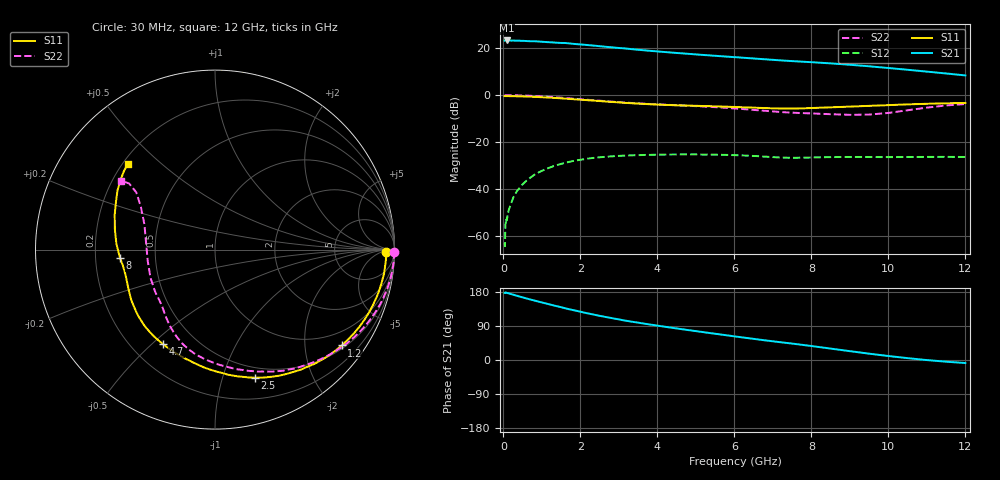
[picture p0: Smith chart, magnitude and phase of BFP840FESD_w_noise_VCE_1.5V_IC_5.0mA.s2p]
! Infineon Technologies  Discrete & RF Semiconductors
! BFP840FESD
! VCE =  1.5 V,  IC =  5.0 mA
! Common Emitter S-Parameters:  May 2012
# GHz  S  MA  R  50
!  f  S11  S21  S12  S22
! GHz  MAG  ANG  MAG  ANG  MAG  ANG  MAG  ANG
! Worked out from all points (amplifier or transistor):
!   103 points, 30 MHz to 12 GHz, reference 50 ohm
!   highest |S21| = 23.3 dB at 90 MHz (marker M1)
!   |S21| within 3 dB of that: start of sweep to 2.857 GHz
!   unconditionally stable (mu >= 1): 7.048 GHz to end of sweep
!   at 400 MHz: K = 0.04, MSG = 31.6 dB, |S12| = -40.0 dB
!   at 3.7 GHz: K = 0.35, MSG = 22.3 dB, |S12| = -25.5 dB
!   at 12 GHz: K = 1.28, MAG = 14.2 dB, |S12| = -26.4 dB
!   lowest NFmin = 0.55 dB at 450 MHz
!   S11 on the Smith chart (normalised r, x): 30 MHz: 38, -13; 1.2 GHz: 0.58, -2.87; 2.5 GHz: 0.40, -1.28; 4.7 GHz: 0.33, -0.54; 8 GHz: 0.31, -0.04; 12 GHz: 0.22, +0.39
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0.03  0.9542 -0.9  14.59 177.0  0.0007 77.5  0.9958 -0.7
0.04  0.954 -1.2  14.6 176.8  0.0006 97.6  0.9963 -1.0
0.05  0.9539 -1.6  14.67 178.1  0.0017 124.6  0.998 -1.1
0.09  0.9534 -2.9  14.69 177.0  0.0024 97.4  0.9986 -2.3
0.4  0.9443 -12.7  14.52 168.0  0.01 81.0  0.9878 -10.8
0.8  0.9197 -25.2  14.15 157.0  0.02 72.3  0.9595 -21.3
1.2  0.8854 -37.1  13.46 146.7  0.0285 63.7  0.9183 -31.7
1.6  0.8433 -49.1  12.98 136.6  0.036 55.3  0.8697 -41.8
2.1  0.7899 -62.6  11.9 125.0  0.0431 45.9  0.8073 -54.0
2.5  0.7474 -72.6  11.08 116.5  0.0473 39.2  0.7614 -62.8
3.2  0.6814 -88.7  9.829 103.3  0.0514 29.8  0.6918 -76.3
3.6  0.6536 -96.9  9.138 96.8  0.0528 25.6  0.6613 -83.1
4.1  0.6254 -107.0  8.435 89.2  0.0539 21.1  0.6311 -90.6
4.7  0.6012 -118.8  7.727 80.4  0.0544 16.4  0.5989 -99.0
5.4  0.581 -131.2  7.004 70.6  0.0539 11.8  0.5605 -107.9
6.1  0.5552 -143.3  6.397 61.0  0.0522 7.7  0.5136 -116.8
6.8  0.5303 -155.3  5.819 51.8  0.0488 5.5  0.4632 -126.3
8  0.5313 -175.0  5.051 36.9  0.0468 10.0  0.4078 -144.9
8.5  0.5501 176.8  4.763 30.1  0.0477 10.2  0.3922 -156.4
9.5  0.5913 160.9  4.128 16.7  0.0479 10.3  0.3853 174.9
10.5  0.6356 148.7  3.481 4.9  0.0479 11.8  0.4763 150.1
12  0.6811 135.3  2.637 -8.0  0.048 15.8  0.6473 143.7
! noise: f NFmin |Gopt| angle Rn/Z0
0.45  0.55  0.51  6  0.17
0.9  0.59  0.49  12  0.18
1.5  0.61  0.45  18  0.17
1.9  0.63  0.41  27  0.17
2.4  0.65  0.39  34  0.18
3.5  0.66  0.38  54  0.17
5.5  0.75  0.26  92  0.12
8  0.92  0.22  150  0.11
10  1.08  0.26  -154  0.11
12  1.29  0.43  -126  0.13
